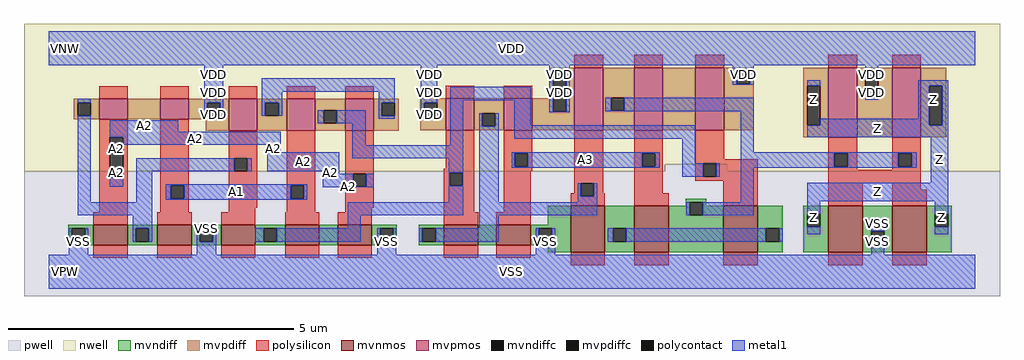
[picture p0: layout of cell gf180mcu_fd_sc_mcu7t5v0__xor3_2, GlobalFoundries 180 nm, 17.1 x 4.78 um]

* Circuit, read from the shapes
.subckt gf180mcu_fd_sc_mcu7t5v0__xor3_2 A1 A2 A3 Z VDD VNW VPW VSS
XM1 n1 A2 VSS VPW nfet_06v0 w=0.36u l=0.6u
XM2 VSS A1 n1 VPW nfet_06v0 w=0.36u l=0.6u
XM3 n2 n1 VSS VPW nfet_06v0 w=0.36u l=0.6u
XM4 n3 A1 n2 VPW nfet_06v0 w=0.36u l=0.6u
XM5 VSS A2 n3 VPW nfet_06v0 w=0.36u l=0.6u
XM6 n4 n2 n5 VPW nfet_06v0 w=0.36u l=0.6u
XM7 VSS A3 n4 VPW nfet_06v0 w=0.36u l=0.6u
XM8 n6 n5 VSS VPW nfet_06v0 w=0.82u l=0.6u
XM9 n7 A3 n6 VPW nfet_06v0 w=0.82u l=0.6u
XM10 n6 n2 n7 VPW nfet_06v0 w=0.82u l=0.6u
XM11 VSS n7 Z VPW nfet_06v0 w=0.82u l=0.6u m=2
XM12 n8 A2 n1 VNW pfet_06v0 w=0.36u l=0.5u
XM13 VDD A1 n8 VNW pfet_06v0 w=0.36u l=0.5u
XM14 n9 n1 VDD VNW pfet_06v0 w=0.56u l=0.5u
XM15 n2 A1 n9 VNW pfet_06v0 w=0.56u l=0.5u
XM16 n9 A2 n2 VNW pfet_06v0 w=0.56u l=0.5u
XM17 n5 n2 VDD VNW pfet_06v0 w=0.56u l=0.5u
XM18 VDD A3 n5 VNW pfet_06v0 w=0.56u l=0.5u
XM19 n7 n5 VDD VNW pfet_06v0 w=1.095u l=0.5u
XM20 n10 A3 n7 VNW pfet_06v0 w=1.095u l=0.5u
XM21 VDD n2 n10 VNW pfet_06v0 w=1.095u l=0.5u
XM22 VDD n7 Z VNW pfet_06v0 w=1.22u l=0.5u m=2
.ends

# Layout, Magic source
magic
tech gf180mcuD
magscale 1 10
<< nwell >>
rect -86 377 3334 870
rect -86 352 2159 377
rect 2379 352 3334 377
<< pwell >>
rect 2159 352 2379 377
rect -86 -86 3334 352
<< mvnmos >>
rect 157 93 277 165
rect 381 93 501 165
rect 605 93 725 165
rect 829 93 949 165
rect 1013 93 1133 165
rect 1385 93 1505 165
rect 1569 93 1689 165
rect 1829 68 1949 232
rect 2053 68 2173 232
rect 2365 68 2485 232
rect 2733 68 2853 232
rect 2957 68 3077 232
<< mvpmos >>
rect 177 534 277 606
rect 391 534 491 606
rect 631 494 731 606
rect 835 494 935 606
rect 1039 494 1139 606
rect 1391 497 1491 609
rect 1595 497 1695 609
rect 1843 497 1943 716
rect 2053 497 2153 716
rect 2267 497 2367 716
rect 2733 472 2833 716
rect 2957 472 3057 716
<< mvndiff >>
rect 2233 244 2305 257
rect 2233 232 2246 244
rect 1749 165 1829 232
rect 69 152 157 165
rect 69 106 82 152
rect 128 106 157 152
rect 69 93 157 106
rect 277 152 381 165
rect 277 106 306 152
rect 352 106 381 152
rect 277 93 381 106
rect 501 152 605 165
rect 501 106 530 152
rect 576 106 605 152
rect 501 93 605 106
rect 725 152 829 165
rect 725 106 754 152
rect 800 106 829 152
rect 725 93 829 106
rect 949 93 1013 165
rect 1133 152 1221 165
rect 1133 106 1162 152
rect 1208 106 1221 152
rect 1133 93 1221 106
rect 1297 152 1385 165
rect 1297 106 1310 152
rect 1356 106 1385 152
rect 1297 93 1385 106
rect 1505 93 1569 165
rect 1689 152 1829 165
rect 1689 106 1718 152
rect 1764 106 1829 152
rect 1689 93 1829 106
rect 1749 68 1829 93
rect 1949 152 2053 232
rect 1949 106 1978 152
rect 2024 106 2053 152
rect 1949 68 2053 106
rect 2173 198 2246 232
rect 2292 232 2305 244
rect 2292 198 2365 232
rect 2173 68 2365 198
rect 2485 152 2573 232
rect 2485 106 2514 152
rect 2560 106 2573 152
rect 2485 68 2573 106
rect 2645 204 2733 232
rect 2645 158 2658 204
rect 2704 158 2733 204
rect 2645 68 2733 158
rect 2853 142 2957 232
rect 2853 96 2882 142
rect 2928 96 2957 142
rect 2853 68 2957 96
rect 3077 204 3165 232
rect 3077 158 3106 204
rect 3152 158 3165 204
rect 3077 68 3165 158
<< mvpdiff >>
rect 1755 701 1843 716
rect 1755 609 1768 701
rect 89 593 177 606
rect 89 547 102 593
rect 148 547 177 593
rect 89 534 177 547
rect 277 534 391 606
rect 491 593 631 606
rect 491 547 556 593
rect 602 547 631 593
rect 491 534 631 547
rect 551 494 631 534
rect 731 593 835 606
rect 731 547 760 593
rect 806 547 835 593
rect 731 494 835 547
rect 935 567 1039 606
rect 935 521 964 567
rect 1010 521 1039 567
rect 935 494 1039 521
rect 1139 593 1227 606
rect 1139 547 1168 593
rect 1214 547 1227 593
rect 1139 494 1227 547
rect 1303 593 1391 609
rect 1303 547 1316 593
rect 1362 547 1391 593
rect 1303 497 1391 547
rect 1491 556 1595 609
rect 1491 510 1520 556
rect 1566 510 1595 556
rect 1491 497 1595 510
rect 1695 561 1768 609
rect 1814 561 1843 701
rect 1695 497 1843 561
rect 1943 610 2053 716
rect 1943 564 1972 610
rect 2018 564 2053 610
rect 1943 497 2053 564
rect 2153 497 2267 716
rect 2367 703 2471 716
rect 2367 657 2411 703
rect 2457 657 2471 703
rect 2367 497 2471 657
rect 2645 653 2733 716
rect 2645 513 2658 653
rect 2704 513 2733 653
rect 2645 472 2733 513
rect 2833 689 2957 716
rect 2833 643 2862 689
rect 2908 643 2957 689
rect 2833 472 2957 643
rect 3057 653 3145 716
rect 3057 513 3086 653
rect 3132 513 3145 653
rect 3057 472 3145 513
<< mvndiffc >>
rect 82 106 128 152
rect 306 106 352 152
rect 530 106 576 152
rect 754 106 800 152
rect 1162 106 1208 152
rect 1310 106 1356 152
rect 1718 106 1764 152
rect 1978 106 2024 152
rect 2246 198 2292 244
rect 2514 106 2560 152
rect 2658 158 2704 204
rect 2882 96 2928 142
rect 3106 158 3152 204
<< mvpdiffc >>
rect 102 547 148 593
rect 556 547 602 593
rect 760 547 806 593
rect 964 521 1010 567
rect 1168 547 1214 593
rect 1316 547 1362 593
rect 1520 510 1566 556
rect 1768 561 1814 701
rect 1972 564 2018 610
rect 2411 657 2457 703
rect 2658 513 2704 653
rect 2862 643 2908 689
rect 3086 513 3132 653
<< polysilicon >>
rect 1843 716 1943 760
rect 2053 716 2153 760
rect 2267 716 2367 760
rect 2733 716 2833 760
rect 2957 716 3057 760
rect 177 606 277 651
rect 391 606 491 651
rect 631 606 731 651
rect 835 606 935 651
rect 1039 606 1139 651
rect 1391 609 1491 653
rect 1595 609 1695 653
rect 177 472 277 534
rect 177 332 215 472
rect 261 332 277 472
rect 177 209 277 332
rect 391 303 491 534
rect 391 257 429 303
rect 475 257 491 303
rect 391 209 491 257
rect 631 399 731 494
rect 631 353 650 399
rect 696 353 731 399
rect 631 225 731 353
rect 835 303 935 494
rect 835 257 849 303
rect 895 257 935 303
rect 631 209 725 225
rect 835 209 935 257
rect 1039 344 1139 494
rect 1391 362 1491 497
rect 1039 298 1068 344
rect 1114 298 1139 344
rect 1039 225 1139 298
rect 1385 347 1491 362
rect 1385 301 1405 347
rect 1451 301 1491 347
rect 1039 209 1133 225
rect 157 165 277 209
rect 381 165 501 209
rect 605 165 725 209
rect 829 165 949 209
rect 1013 165 1133 209
rect 1385 209 1491 301
rect 1595 415 1695 497
rect 1595 369 1634 415
rect 1680 369 1695 415
rect 1595 354 1695 369
rect 1595 209 1689 354
rect 1843 311 1943 497
rect 1843 276 1865 311
rect 1829 265 1865 276
rect 1911 276 1943 311
rect 2053 415 2153 497
rect 2053 369 2080 415
rect 2126 369 2153 415
rect 2053 276 2153 369
rect 2267 395 2367 497
rect 2733 415 2833 472
rect 2267 380 2485 395
rect 2267 334 2294 380
rect 2340 334 2485 380
rect 2267 319 2485 334
rect 1911 265 1949 276
rect 1829 232 1949 265
rect 2053 232 2173 276
rect 1385 165 1505 209
rect 1569 165 1689 209
rect 157 49 277 93
rect 381 49 501 93
rect 605 49 725 93
rect 829 49 949 93
rect 1013 49 1133 93
rect 1385 49 1505 93
rect 1569 49 1689 93
rect 2365 232 2485 319
rect 2733 369 2754 415
rect 2800 369 2833 415
rect 2733 357 2833 369
rect 2957 415 3057 472
rect 2957 369 2978 415
rect 3024 369 3057 415
rect 2957 357 3057 369
rect 2733 311 3057 357
rect 2733 232 2853 311
rect 2957 288 3057 311
rect 2957 232 3077 288
rect 1829 24 1949 68
rect 2053 24 2173 68
rect 2365 24 2485 68
rect 2733 24 2853 68
rect 2957 24 3077 68
<< polycontact >>
rect 215 332 261 472
rect 429 257 475 303
rect 650 353 696 399
rect 849 257 895 303
rect 1068 298 1114 344
rect 1405 301 1451 347
rect 1634 369 1680 415
rect 1865 265 1911 311
rect 2080 369 2126 415
rect 2294 334 2340 380
rect 2754 369 2800 415
rect 2978 369 3024 415
<< metal1 >>
rect 0 724 3248 844
rect 102 593 148 606
rect 545 593 613 724
rect 545 547 556 593
rect 602 547 613 593
rect 747 632 1214 678
rect 747 593 819 632
rect 747 547 760 593
rect 806 547 819 593
rect 1157 593 1214 632
rect 102 244 148 547
rect 215 491 455 532
rect 944 521 964 567
rect 1010 521 1111 567
rect 1157 547 1168 593
rect 1157 536 1214 547
rect 1305 593 1362 724
rect 1755 701 1827 724
rect 1305 547 1316 593
rect 1305 536 1362 547
rect 1408 602 1689 648
rect 215 472 813 491
rect 261 445 813 472
rect 767 419 813 445
rect 1065 444 1111 521
rect 1408 444 1454 602
rect 215 298 261 332
rect 307 353 650 399
rect 696 353 712 399
rect 767 353 1019 419
rect 1065 398 1454 444
rect 307 244 363 353
rect 960 344 1019 353
rect 1402 347 1454 398
rect 410 303 907 307
rect 410 257 429 303
rect 475 257 849 303
rect 895 257 907 303
rect 960 298 1068 344
rect 1114 298 1139 344
rect 960 297 1139 298
rect 1402 301 1405 347
rect 1451 301 1454 347
rect 410 253 907 257
rect 1402 244 1454 301
rect 102 198 363 244
rect 295 152 363 198
rect 1048 198 1454 244
rect 1509 510 1520 556
rect 1566 510 1577 556
rect 1509 244 1577 510
rect 1632 513 1689 602
rect 1755 561 1768 701
rect 1814 561 1827 701
rect 2398 703 2471 724
rect 2398 657 2411 703
rect 2457 657 2471 703
rect 2862 689 2908 724
rect 2398 656 2471 657
rect 2658 653 2704 672
rect 1950 564 1972 610
rect 2018 564 2471 610
rect 1950 563 2471 564
rect 1755 559 1827 561
rect 1632 466 2267 513
rect 1623 415 2142 419
rect 1623 369 1634 415
rect 1680 369 2080 415
rect 2126 369 2142 415
rect 1623 365 2142 369
rect 2221 380 2267 466
rect 2425 419 2471 563
rect 2862 603 2908 643
rect 3048 653 3152 672
rect 3048 536 3086 653
rect 2704 513 3086 536
rect 3132 513 3152 653
rect 2658 472 3152 513
rect 2425 415 3042 419
rect 2221 334 2294 380
rect 2340 334 2352 380
rect 2425 369 2754 415
rect 2800 369 2978 415
rect 3024 369 3042 415
rect 2425 365 3042 369
rect 1854 265 1865 311
rect 1911 265 1922 311
rect 1854 244 1922 265
rect 2425 244 2471 365
rect 3092 312 3152 472
rect 1509 198 1922 244
rect 2234 198 2246 244
rect 2292 198 2471 244
rect 2658 248 3152 312
rect 2658 204 2704 248
rect 71 106 82 152
rect 128 106 139 152
rect 295 106 306 152
rect 352 106 363 152
rect 519 152 587 155
rect 1048 152 1094 198
rect 1509 152 1577 198
rect 3106 204 3152 248
rect 519 106 530 152
rect 576 106 587 152
rect 725 106 754 152
rect 800 106 1094 152
rect 1151 106 1162 152
rect 1208 106 1219 152
rect 1297 106 1310 152
rect 1356 106 1577 152
rect 1707 106 1718 152
rect 1764 106 1776 152
rect 1959 106 1978 152
rect 2024 106 2514 152
rect 2560 106 2573 152
rect 2658 131 2704 158
rect 2882 142 2928 181
rect 71 60 139 106
rect 519 60 587 106
rect 1151 60 1219 106
rect 1707 60 1776 106
rect 3106 131 3152 158
rect 2882 60 2928 96
rect 0 -60 3248 60
<< labels >>
flabel metal1 s 1623 365 2142 419 0 FreeSans 400 0 0 0 A3
port 3 nsew default input
flabel metal1 s 0 724 3248 844 0 FreeSans 400 0 0 0 VDD
port 5 nsew power bidirectional abutment
flabel metal1 s 2882 155 2928 181 0 FreeSans 400 0 0 0 VSS
port 8 nsew ground bidirectional abutment
flabel metal1 s 3048 536 3152 672 0 FreeSans 400 0 0 0 Z
port 4 nsew default output
flabel metal1 s 410 253 907 307 0 FreeSans 400 0 0 0 A1
port 1 nsew default input
flabel metal1 s 215 491 455 532 0 FreeSans 400 0 0 0 A2
port 2 nsew default input
flabel nwell s 10 734 110 834 0 FreeSans 400 0 0 0 VNW
port 6 nsew power bidirectional
flabel pwell s 10 -50 110 50 0 FreeSans 400 0 0 0 VPW
port 7 nsew ground bidirectional
rlabel metal1 s 215 445 813 491 1 A2
port 2 nsew default input
rlabel metal1 s 767 419 813 445 1 A2
port 2 nsew default input
rlabel metal1 s 215 419 261 445 1 A2
port 2 nsew default input
rlabel metal1 s 767 353 1019 419 1 A2
port 2 nsew default input
rlabel metal1 s 215 353 261 419 1 A2
port 2 nsew default input
rlabel metal1 s 960 344 1019 353 1 A2
port 2 nsew default input
rlabel metal1 s 215 344 261 353 1 A2
port 2 nsew default input
rlabel metal1 s 960 298 1139 344 1 A2
port 2 nsew default input
rlabel metal1 s 215 298 261 344 1 A2
port 2 nsew default input
rlabel metal1 s 960 297 1139 298 1 A2
port 2 nsew default input
rlabel metal1 s 2658 536 2704 672 1 Z
port 4 nsew default output
rlabel metal1 s 2658 472 3152 536 1 Z
port 4 nsew default output
rlabel metal1 s 3092 312 3152 472 1 Z
port 4 nsew default output
rlabel metal1 s 2658 248 3152 312 1 Z
port 4 nsew default output
rlabel metal1 s 3106 131 3152 248 1 Z
port 4 nsew default output
rlabel metal1 s 2658 131 2704 248 1 Z
port 4 nsew default output
rlabel metal1 s 2862 656 2908 724 1 VDD
port 5 nsew power bidirectional abutment
rlabel metal1 s 2398 656 2471 724 1 VDD
port 5 nsew power bidirectional abutment
rlabel metal1 s 1755 656 1827 724 1 VDD
port 5 nsew power bidirectional abutment
rlabel metal1 s 1305 656 1362 724 1 VDD
port 5 nsew power bidirectional abutment
rlabel metal1 s 545 656 613 724 1 VDD
port 5 nsew power bidirectional abutment
rlabel metal1 s 2862 603 2908 656 1 VDD
port 5 nsew power bidirectional abutment
rlabel metal1 s 1755 603 1827 656 1 VDD
port 5 nsew power bidirectional abutment
rlabel metal1 s 1305 603 1362 656 1 VDD
port 5 nsew power bidirectional abutment
rlabel metal1 s 545 603 613 656 1 VDD
port 5 nsew power bidirectional abutment
rlabel metal1 s 1755 559 1827 603 1 VDD
port 5 nsew power bidirectional abutment
rlabel metal1 s 1305 559 1362 603 1 VDD
port 5 nsew power bidirectional abutment
rlabel metal1 s 545 559 613 603 1 VDD
port 5 nsew power bidirectional abutment
rlabel metal1 s 1305 547 1362 559 1 VDD
port 5 nsew power bidirectional abutment
rlabel metal1 s 545 547 613 559 1 VDD
port 5 nsew power bidirectional abutment
rlabel metal1 s 1305 536 1362 547 1 VDD
port 5 nsew power bidirectional abutment
rlabel metal1 s 2882 152 2928 155 1 VSS
port 8 nsew ground bidirectional abutment
rlabel metal1 s 519 152 587 155 1 VSS
port 8 nsew ground bidirectional abutment
rlabel metal1 s 2882 60 2928 152 1 VSS
port 8 nsew ground bidirectional abutment
rlabel metal1 s 1707 60 1776 152 1 VSS
port 8 nsew ground bidirectional abutment
rlabel metal1 s 1151 60 1219 152 1 VSS
port 8 nsew ground bidirectional abutment
rlabel metal1 s 519 60 587 152 1 VSS
port 8 nsew ground bidirectional abutment
rlabel metal1 s 71 60 139 152 1 VSS
port 8 nsew ground bidirectional abutment
rlabel metal1 s 0 -60 3248 60 1 VSS
port 8 nsew ground bidirectional abutment
<< properties >>
string FIXED_BBOX 0 0 3248 784
string GDS_END 384562
string GDS_FILE $PDKPATH/libs.ref/gf180mcu_fd_sc_mcu7t5v0/gds/gf180mcu_fd_sc_mcu7t5v0.gds
string GDS_START 377218
string LEFclass core
string LEFsite GF018hv5v_mcu_sc7
string LEFsymmetry X Y
<< end >>
